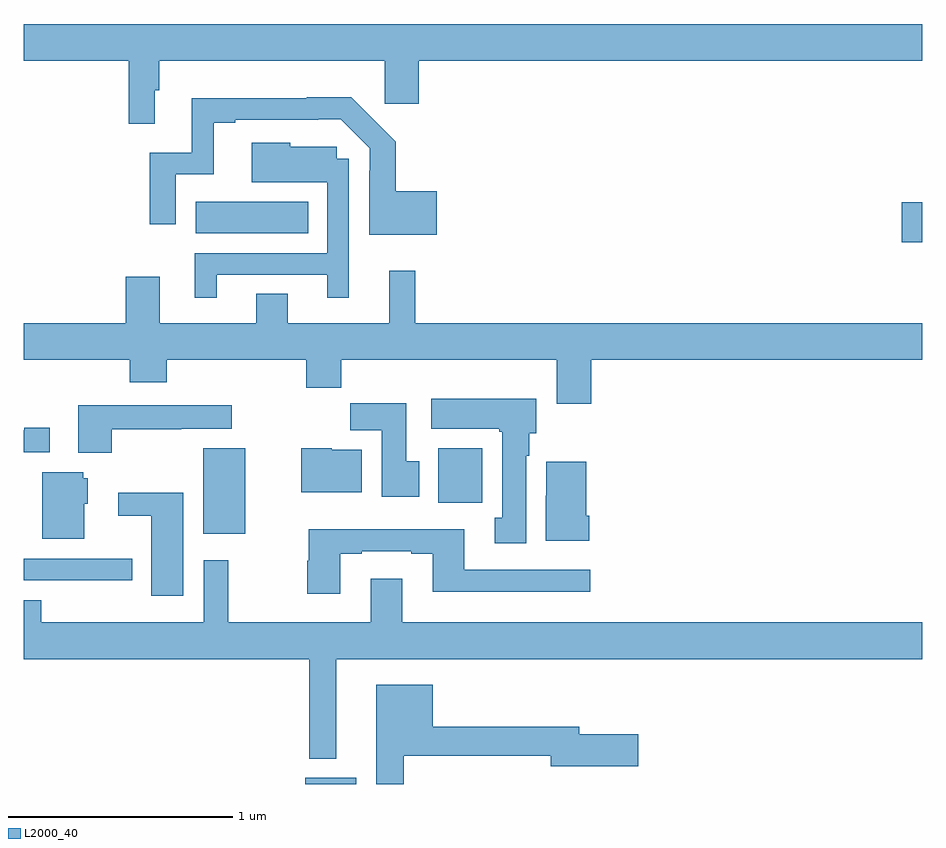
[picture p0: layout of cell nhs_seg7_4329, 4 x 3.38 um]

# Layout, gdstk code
import gdstk
lib = gdstk.Library(unit=1e-6, precision=1e-09)
def R(c, l, rs):  # rectangles x0, y0, x1, y1
    for r in rs: c.add(gdstk.rectangle(r[:2], r[2:], *l))
def P(c, l, *ps):  # polygons
    for p in ps: c.add(gdstk.Polygon(p, *l))
L2000_40 = (2000, 40)

nhs_seg7_4329 = lib.new_cell('nhs_seg7_4329')
R(nhs_seg7_4329, L2000_40, [(384.254,1060,384.481,1060.027), (383.798,1061.114,383.986,1061.494), (384.845,1061.252,385.042,1061.494), (386.91,1062.412,387,1062.59), (383.766,1062.452,384.266,1062.592)])
P(nhs_seg7_4329, L2000_40, [(383.584,1063.088),(383.603,1063.088),(383.603,1063.22),(384.607,1063.22),(384.607,1063.029),(384.758,1063.029),(384.758,1063.22),(387,1063.22),(387,1063.384),(383,1063.384),(383,1063.22),(383.467,1063.22),(383.467,1062.939),(383.584,1062.939)],
  [(384.838,1062.64),(384.656,1062.64),(384.656,1062.859),(384.458,1063.057),(384.259,1063.057),(384.259,1063.054),(383.747,1063.054),(383.747,1062.81),(383.56,1062.81),(383.56,1062.492),(383.676,1062.492),(383.676,1062.714),(383.845,1062.714),(383.845,1062.945),(383.941,1062.945),(383.941,1062.957),(384.311,1062.957),(384.311,1062.959),(384.412,1062.959),(384.54,1062.831),(384.54,1062.731),(384.537,1062.731),(384.537,1062.446),(384.838,1062.446)],
  [(383.86,1062.267),(384.35,1062.267),(384.35,1062.165),(384.447,1062.165),(384.447,1062.783),(384.393,1062.783),(384.393,1062.838),(384.186,1062.838),(384.186,1062.856),(384.014,1062.856),(384.014,1062.68),(384.351,1062.68),(384.351,1062.363),(383.762,1062.363),(383.762,1062.165),(383.86,1062.165)],
  [(385.526,1061.888),(387,1061.888),(387,1062.052),(384.743,1062.052),(384.743,1062.286),(384.626,1062.286),(384.626,1062.052),(384.175,1062.052),(384.175,1062.182),(384.035,1062.182),(384.035,1062.052),(383.605,1062.052),(383.605,1062.259),(383.453,1062.259),(383.453,1062.052),(383,1062.052),(383,1061.888),(383.471,1061.888),(383.471,1061.789),(383.636,1061.789),(383.636,1061.888),(384.257,1061.888),(384.257,1061.764),(384.413,1061.764),(384.413,1061.888),(385.373,1061.888),(385.373,1061.694),(385.526,1061.694)],
  [(385.237,1061.462),(385.25,1061.462),(385.25,1061.562),(385.282,1061.562),(385.282,1061.716),(384.813,1061.716),(384.813,1061.582),(385.117,1061.582),(385.117,1061.569),(385.13,1061.569),(385.13,1061.186),(385.097,1061.186),(385.097,1061.073),(385.237,1061.073)],
  [(384.76,1061.436),(384.703,1061.436),(384.703,1061.695),(384.454,1061.695),(384.454,1061.576),(384.593,1061.576),(384.593,1061.28),(384.76,1061.28)],
  [(383.391,1061.58),(383.702,1061.58),(383.702,1061.582),(383.926,1061.582),(383.926,1061.686),(383.243,1061.686),(383.243,1061.474),(383.391,1061.474)],
  [(383.116,1061.587),(383.002,1061.587),(383.002,1061.575),(383,1061.575),(383,1061.478),(383.116,1061.478)],
  [(384.505,1061.488),(384.372,1061.488),(384.372,1061.494),(384.236,1061.494),(384.236,1061.3),(384.505,1061.3)],
  [(385.517,1061.194),(385.504,1061.194),(385.504,1061.434),(385.326,1061.434),(385.326,1061.283),(385.325,1061.283),(385.325,1061.082),(385.517,1061.082)],
  [(383.269,1061.247),(383.284,1061.247),(383.284,1061.361),(383.265,1061.361),(383.265,1061.389),(383.081,1061.389),(383.081,1061.093),(383.269,1061.093)],
  [(383.71,1061.297),(383.421,1061.297),(383.421,1061.195),(383.567,1061.195),(383.567,1060.839),(383.71,1060.839)],
  [(384.409,1061.025),(384.505,1061.025),(384.505,1061.037),(384.725,1061.037),(384.725,1061.025),(384.821,1061.025),(384.821,1060.856),(385.522,1060.856),(385.522,1060.953),(384.961,1060.953),(384.961,1061.134),(384.269,1061.134),(384.269,1060.995),(384.262,1060.995),(384.262,1060.848),(384.409,1060.848)],
  [(383.482,1061.004),(383,1061.004),(383,1060.908),(383.161,1060.908),(383.161,1060.907),(383.482,1060.907)],
  [(384.391,1060.556),(387,1060.556),(387,1060.72),(384.685,1060.72),(384.685,1060.915),(384.545,1060.915),(384.545,1060.72),(383.911,1060.72),(383.911,1060.996),(383.802,1060.996),(383.802,1060.72),(383.078,1060.72),(383.078,1060.819),(383,1060.819),(383,1060.556),(384.27,1060.556),(384.27,1060.112),(384.391,1060.112)],
  [(384.691,1060.126),(385.346,1060.126),(385.346,1060.079),(385.735,1060.079),(385.735,1060.221),(385.474,1060.221),(385.474,1060.255),(384.82,1060.255),(384.82,1060.441),(384.569,1060.441),(384.569,1060),(384.691,1060)])

lib.write_gds('nhs_seg7_4329.gds')
